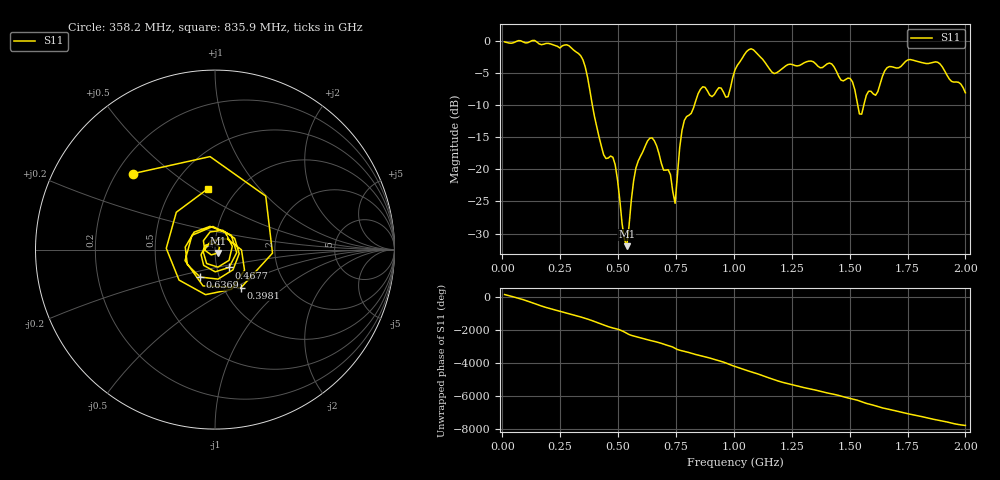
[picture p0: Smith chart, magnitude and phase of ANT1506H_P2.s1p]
!Created with skrf (http://scikit-rf.org).
# Hz S RI R 50.0
!freq ReS11 ImS11
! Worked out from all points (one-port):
!   201 points, 10 MHz to 2 GHz, reference 50 ohm
!   lowest |S11| = -32.0 dB at 537.4 MHz (marker M1), VSWR 1.05, Z = 51.6 - j1.97 ohm
!   |S11| at or under -10 dB: 388.8 MHz to 830 MHz (441.2 MHz wide, 72.4 % of centre); 1.535 GHz to 1.562 GHz (26.73 MHz wide, 1.73 % of centre)
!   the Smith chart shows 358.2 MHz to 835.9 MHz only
!   S11 on the Smith chart (normalised r, x): 358.2 MHz: 0.27, +0.37; 398.1 MHz: 1.20, -0.55; 467.7 MHz: 1.14, -0.23; 636.9 MHz: 0.81, -0.26; 835.9 MHz: 0.74, +0.57
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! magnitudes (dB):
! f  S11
! 10 MHz  -0.2
! 258.8 MHz  -0.8
! 358.2 MHz  -4.1
! 398.1 MHz  -11.8
! 437.9 MHz  -17.8
! 467.7 MHz  -18.0
! 487.6 MHz  -19.3
! 507.5 MHz  -24.8
! 537.4 MHz  -32.0
! 577.1 MHz  -19.8
! 636.9 MHz  -15.2
! 726.4 MHz  -20.9
! 746.3 MHz  -25.3
! 756.2 MHz  -20.9
! 786.1 MHz  -12.4
! 835.9 MHz  -9.3
! 865.7 MHz  -7.2
! 975.1 MHz  -8.7
! 1.005 GHz  -4.6
! 1.075 GHz  -1.3
! 1.174 GHz  -5.1
! 1.254 GHz  -3.7
! 1.502 GHz  -5.9
! 1.552 GHz  -11.4
! 1.662 GHz  -4.2
! 1.751 GHz  -3.0
! 1.881 GHz  -3.4
! 2 GHz  -8.1
